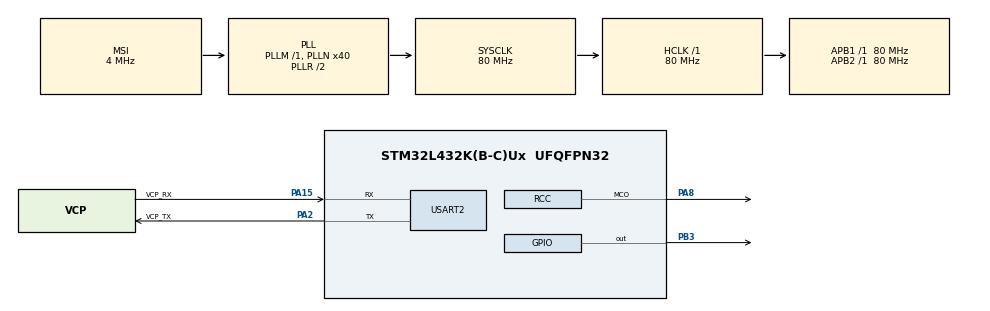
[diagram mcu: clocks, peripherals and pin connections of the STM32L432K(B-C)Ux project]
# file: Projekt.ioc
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Mcu.Family=STM32L4
Mcu.Name=STM32L432K(B-C)Ux
Mcu.Package=UFQFPN32
NUCLEO-L432KC.LD3=true
NVIC.PriorityGroup=NVIC_PRIORITYGROUP_4
PA0.GPIO_Label=MCO [High speed clock in]
PA0.Signal=RCC_CK_IN
PA13\ (JTMS-SWDIO).GPIO_Label=SWDIO
PA13\ (JTMS-SWDIO).Mode=Serial_Wire
PA13\ (JTMS-SWDIO).Signal=SYS_JTMS-SWDIO
PA14\ (JTCK-SWCLK).GPIO_Label=SWCLK
PA14\ (JTCK-SWCLK).Mode=Serial_Wire
PA14\ (JTCK-SWCLK).Signal=SYS_JTCK-SWCLK
PA15\ (JTDI).GPIO_Label=VCP_RX
PA15\ (JTDI).Mode=Asynchronous
PA15\ (JTDI).Signal=USART2_RX
PA2.GPIO_Label=VCP_TX
PA2.Mode=Asynchronous
PA2.Signal=USART2_TX
PA8.Mode=Clock-out
PA8.Signal=RCC_MCO
PB3\ (JTDO-TRACESWO).Signal=GPIO_Output
PC14-OSC32_IN\ (PC14).Signal=RCC_OSC32_IN
PC15-OSC32_OUT\ (PC15).Signal=RCC_OSC32_OUT
ProjectManager.HeapSize=0x200
ProjectManager.StackSize=0x400
ProjectManager.TargetToolchain=STM32CubeIDE
RCC.AHBFreq_Value=80000000
RCC.APB1Freq_Value=80000000
RCC.APB1TimFreq_Value=80000000
RCC.APB2Freq_Value=80000000
RCC.APB2TimFreq_Value=80000000
RCC.CortexFreq_Value=80000000
RCC.HCLKFreq_Value=80000000
RCC.HSE_VALUE=8000000
RCC.HSI16_VALUE=16000000
RCC.HSI48_VALUE=48000000
RCC.HSI_VALUE=16000000
RCC.LSE_VALUE=32768
RCC.MSI_VALUE=4000000
RCC.PLLMUL=RCC_PLLMUL_4
RCC.PLLN=40
RCC.SYSCLKFreq_VALUE=80000000
RCC.SYSCLKSource=RCC_SYSCLKSOURCE_PLLCLK
RCC.VCOOutputFreq_Value=160000000
USART2.VirtualMode-Asynchronous=VM_ASYNC
VP_NUCLEO-L432KC_VS_BSP_COMMON.Mode=COMMON
board=NUCLEO-L432KC

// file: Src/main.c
/* USER CODE BEGIN Header */
/**
  ******************************************************************************
  * @file           : main.c
  * @brief          : Main program body (Advanced Crypto Benchmark)
  ******************************************************************************
  */
/* USER CODE END Header */
#include "main.h"
#include "usart.h"
#include "gpio.h"

/* USER CODE BEGIN Includes */
#include <stdio.h>
#include <stdint.h>
#include <string.h>

// Az algoritmusok header fájljai
#include "aes.h"
#include "speck.h"
#include "lea.h"
#include "ascon128.h"
/* USER CODE END Includes */

/* USER CODE BEGIN PTD */
typedef struct {
    char algo[16];
    char operation[16];
    uint16_t size;
    uint32_t cycles;
} BenchmarkResult;
/* USER CODE END PTD */

/* USER CODE BEGIN PD */
#define ITERATIONS 100
#define NUM_TEST_SIZES 4
#define MAX_RESULTS 100

// DWT regiszterek definíciói a cikluspontos méréshez
#define DWT_CTRL        (*(volatile uint32_t*)0xE0001000)
#define DWT_CYCCNT      (*(volatile uint32_t*)0xE0001004)
#define DEMCR           (*(volatile uint32_t*)0xE000EDFC)
#define DEMCR_TRCENA    0x01000000
#define DWT_CR_CYCCNTENA 0x00000001
/* USER CODE END PD */

/* USER CODE BEGIN PV */
BenchmarkResult results[MAX_RESULTS];
uint32_t result_count = 0;

const uint16_t test_sizes[NUM_TEST_SIZES] = {16, 64, 256, 1024};

uint8_t key[16] = {0x01, 0x23, 0x45, 0x67, 0x89, 0xAB, 0xCD, 0xEF, 0x01, 0x23, 0x45, 0x67, 0x89, 0xAB, 0xCD, 0xEF};
uint8_t iv[16]  = {0xF0, 0xE0, 0xD0, 0xC0, 0xB0, 0xA0, 0x90, 0x80, 0x70, 0x60, 0x50, 0x40, 0x30, 0x20, 0x10, 0x00};

uint8_t plaintext[1040];
volatile uint8_t ciphertext[1040];
volatile uint8_t decrypted[1040];
/* USER CODE END PV */

void SystemClock_Config(void);
/* USER CODE BEGIN PFP */
extern void Speck128128KeySchedule(const uint64_t K[2], uint64_t rk[32]);
extern void Speck128128Encrypt(const uint64_t Pt[2], uint64_t Ct[2], const uint64_t rk[32]);
extern void Speck128128Decrypt(const uint64_t Ct[2], uint64_t Pt[2], const uint64_t rk[32]);
/* USER CODE END PFP */

/* USER CODE BEGIN 0 */
extern UART_HandleTypeDef huart2;

int _write(int file, char *ptr, int len) {
    HAL_UART_Transmit(&huart2, (uint8_t*)ptr, len, HAL_MAX_DELAY);
    return len;
}

void DWT_Init(void) {
    DEMCR |= DEMCR_TRCENA;
    DWT_CYCCNT = 0;
    DWT_CTRL |= DWT_CR_CYCCNTENA;
}

// -------------------------------------------------------------------------
// UNIFORM BUFFER WRAPPERS (Az egységes és igazságos mérésért)
// -------------------------------------------------------------------------

void aes_buffer_encrypt(struct AES_ctx* ctx, uint8_t* buf, uint16_t size) {
    for (uint16_t i = 0; i < size; i += 16) {
        AES_ECB_encrypt(ctx, buf + i);
    }
}

void aes_buffer_decrypt(struct AES_ctx* ctx, uint8_t* buf, uint16_t size) {
    for (uint16_t i = 0; i < size; i += 16) {
        AES_ECB_decrypt(ctx, buf + i);
    }
}

void speck_buffer_encrypt(const uint8_t* in, uint8_t* out, uint16_t size, const uint64_t* rk) {
    for (uint16_t i = 0; i < size; i += 16) {
        Speck128128Encrypt((uint64_t*)(in + i), (uint64_t*)(out + i), rk);
    }
}

void speck_buffer_decrypt(const uint8_t* in, uint8_t* out, uint16_t size, const uint64_t* rk) {
    for (uint16_t i = 0; i < size; i += 16) {
        Speck128128Decrypt((uint64_t*)(in + i), (uint64_t*)(out + i), rk);
    }
}

// -------------------------------------------------------------------------

void Record_Result(const char* algo, const char* op, uint16_t size, uint32_t cycles) {
    if(result_count < MAX_RESULTS) {
        strcpy(results[result_count].algo, algo);
        strcpy(results[result_count].operation, op);
        results[result_count].size = size;
        results[result_count].cycles = cycles;
        result_count++;
    }
}

void Print_Results(void) {
    printf("\r\n======================================================\r\n");
    printf("| %-10s | %-12s | %-8s | %-10s |\r\n", "Algoritmus", "Muvelet", "Meret(B)", "Ciklus");
    printf("======================================================\r\n");
    for(uint32_t i=0; i<result_count; i++) {
        printf("| %-10s | %-12s | %-8u | %-10lu |\r\n",
               results[i].algo, results[i].operation, results[i].size, results[i].cycles);
    }
    printf("======================================================\r\n\r\n");

    printf("--- CSV FORMATUM EXCELHEZ ---\r\n");
    printf("Algoritmus,Muvelet,Meret,Ciklus\r\n");
    for(uint32_t i=0; i<result_count; i++) {
        printf("%s,%s,%u,%lu\r\n", results[i].algo, results[i].operation, results[i].size, results[i].cycles);
    }
    printf("-----------------------------\r\n");
}
/* USER CODE END 0 */

int main(void)
{
  /* MCU Configuration--------------------------------------------------------*/
  HAL_Init();
  SystemClock_Config();
  MX_GPIO_Init();
  MX_USART2_UART_Init();

  /* USER CODE BEGIN 2 */
  DWT_Init();

  for(int i=0; i<1040; i++) plaintext[i] = i % 256;

  printf("\r\n\r\n========================================\r\n");
  printf("STM32 Crypto Benchmark Indul...\r\n");
  printf("Orajel: %lu Hz\r\n", HAL_RCC_GetHCLKFreq());
  printf("========================================\r\n");

  struct AES_ctx aes_ctx;
  LEA_KEY lea_key;
  uint64_t speck_rk[32];

  uint8_t nonce[16] = {0};
  uint8_t ad[1] = {0};
  unsigned long long clen = 0;
  unsigned long long mlen = 0;

  uint32_t start, end;

  // =========================================================================
  // 1. KULCSGENERÁLÁS MÉRÉSE (Key Schedule)
  // =========================================================================

  __disable_irq();
  start = DWT_CYCCNT;
  for(int i=0; i<ITERATIONS; i++) { AES_init_ctx(&aes_ctx, key); }
  end = DWT_CYCCNT;
  __enable_irq();
  Record_Result("AES-128", "KeyGen", 0, (end - start)/ITERATIONS);

  __disable_irq();
  start = DWT_CYCCNT;
  for(int i=0; i<ITERATIONS; i++) { Speck128128KeySchedule((uint64_t*)key, speck_rk); }
  end = DWT_CYCCNT;
  __enable_irq();
  Record_Result("SPECK-128", "KeyGen", 0, (end - start)/ITERATIONS);

  __disable_irq();
  start = DWT_CYCCNT;
  for(int i=0; i<ITERATIONS; i++) { lea_set_key(&lea_key, key, 16); }
  end = DWT_CYCCNT;
  __enable_irq();
  Record_Result("LEA-128", "KeyGen", 0, (end - start)/ITERATIONS);

  Record_Result("ASCON-128", "KeyGen", 0, 0);

  // =========================================================================
  // 2. SEBESSÉGMÉRÉS DINAMIKUS CSOMAGMÉRETEKKEL
  // =========================================================================

  for(int s=0; s<NUM_TEST_SIZES; s++)
  {
      uint16_t size = test_sizes[s];

      // --- AES-128 ECB ---
      memcpy((void*)ciphertext, plaintext, size);

      __disable_irq();
      start = DWT_CYCCNT;
      for(int k=0; k<ITERATIONS; k++) {
          aes_buffer_encrypt(&aes_ctx, (uint8_t*)ciphertext, size);
      }
      end = DWT_CYCCNT;
      __enable_irq();
      Record_Result("AES-128", "Encrypt", size, (end - start)/ITERATIONS);

      __disable_irq();
      start = DWT_CYCCNT;
      for(int k=0; k<ITERATIONS; k++) {
          aes_buffer_decrypt(&aes_ctx, (uint8_t*)ciphertext, size);
      }
      end = DWT_CYCCNT;
      __enable_irq();
      Record_Result("AES-128", "Decrypt", size, (end - start)/ITERATIONS);

      // --- AES-128 CTR (Kiegészítő szimmetrikus mérés) ---
      AES_init_ctx_iv(&aes_ctx, key, iv);
      memcpy((void*)ciphertext, plaintext, size);

      __disable_irq();
      start = DWT_CYCCNT;
      for(int k=0; k<ITERATIONS; k++) {
          AES_CTR_xcrypt_buffer(&aes_ctx, (uint8_t*)ciphertext, size);
      }
      end = DWT_CYCCNT;
      __enable_irq();
      Record_Result("AES-CTR", "Encrypt", size, (end - start)/ITERATIONS);

      AES_init_ctx_iv(&aes_ctx, key, iv);
      __disable_irq();
      start = DWT_CYCCNT;
      for(int k=0; k<ITERATIONS; k++) {
          AES_CTR_xcrypt_buffer(&aes_ctx, (uint8_t*)ciphertext, size);
      }
      end = DWT_CYCCNT;
      __enable_irq();
      Record_Result("AES-CTR", "Decrypt", size, (end - start)/ITERATIONS);

      // --- SPECK-128 ---
      __disable_irq();
      start = DWT_CYCCNT;
      for(int k=0; k<ITERATIONS; k++) {
          speck_buffer_encrypt(plaintext, (uint8_t*)ciphertext, size, speck_rk);
      }
      end = DWT_CYCCNT;
      __enable_irq();
      Record_Result("SPECK-128", "Encrypt", size, (end - start)/ITERATIONS);

      __disable_irq();
      start = DWT_CYCCNT;
      for(int k=0; k<ITERATIONS; k++) {
          speck_buffer_decrypt((uint8_t*)ciphertext, (uint8_t*)decrypted, size, speck_rk);
      }
      end = DWT_CYCCNT;
      __enable_irq();
      Record_Result("SPECK-128", "Decrypt", size, (end - start)/ITERATIONS);

      // --- LEA-128 ---
      __disable_irq();
      start = DWT_CYCCNT;
      for(int k=0; k<ITERATIONS; k++) {
          lea_ecb_encrypt((uint8_t*)ciphertext, plaintext, size, &lea_key);
      }
      end = DWT_CYCCNT;
      __enable_irq();
      Record_Result("LEA-128", "Encrypt", size, (end - start)/ITERATIONS);

      __disable_irq();
      start = DWT_CYCCNT;
      for(int k=0; k<ITERATIONS; k++) {
          lea_ecb_decrypt((uint8_t*)decrypted, (uint8_t*)ciphertext, size, &lea_key);
      }
      end = DWT_CYCCNT;
      __enable_irq();
      Record_Result("LEA-128", "Decrypt", size, (end - start)/ITERATIONS);

      // --- ASCON-128 ---
      __disable_irq();
      start = DWT_CYCCNT;
      for(int k=0; k<ITERATIONS; k++) {
          ascon128_aead_encrypt((uint8_t*)ciphertext, &clen, plaintext, size, ad, 0, NULL, nonce, key);
      }
      end = DWT_CYCCNT;
      __enable_irq();
      Record_Result("ASCON-128", "Encrypt", size, (end - start)/ITERATIONS);

      __disable_irq();
      start = DWT_CYCCNT;
      for(int k=0; k<ITERATIONS; k++) {
          ascon128_aead_decrypt((uint8_t*)decrypted, &mlen, NULL, (uint8_t*)ciphertext, clen, ad, 0, nonce, key);
      }
      end = DWT_CYCCNT;
      __enable_irq();
      Record_Result("ASCON-128", "Decrypt", size, (end - start)/ITERATIONS);
  }

  Print_Results();
  printf("Meres befejezve. Ujrainditashoz nyomd meg a RESET gombot a panelen.\r\n");
  /* USER CODE END 2 */

  /* Infinite loop */
  /* USER CODE BEGIN WHILE */
  while (1)
  {
    HAL_Delay(1000);
    /* USER CODE END WHILE */

  }
}

void SystemClock_Config(void)
{
  RCC_OscInitTypeDef RCC_OscInitStruct = {0};
  RCC_ClkInitTypeDef RCC_ClkInitStruct = {0};

  if (HAL_PWREx_ControlVoltageScaling(PWR_REGULATOR_VOLTAGE_SCALE1) != HAL_OK)
  {
    Error_Handler();
  }

  RCC_OscInitStruct.OscillatorType = RCC_OSCILLATORTYPE_MSI;
  RCC_OscInitStruct.MSIState = RCC_MSI_ON;
  RCC_OscInitStruct.MSICalibrationValue = 0;
  RCC_OscInitStruct.MSIClockRange = RCC_MSIRANGE_6;
  RCC_OscInitStruct.PLL.PLLState = RCC_PLL_ON;
  RCC_OscInitStruct.PLL.PLLSource = RCC_PLLSOURCE_MSI;
  RCC_OscInitStruct.PLL.PLLM = 1;
  RCC_OscInitStruct.PLL.PLLN = 40;
  RCC_OscInitStruct.PLL.PLLP = RCC_PLLP_DIV7;
  RCC_OscInitStruct.PLL.PLLQ = RCC_PLLQ_DIV2;
  RCC_OscInitStruct.PLL.PLLR = RCC_PLLR_DIV2;
  if (HAL_RCC_OscConfig(&RCC_OscInitStruct) != HAL_OK)
  {
    Error_Handler();
  }

  RCC_ClkInitStruct.ClockType = RCC_CLOCKTYPE_HCLK|RCC_CLOCKTYPE_SYSCLK
                              |RCC_CLOCKTYPE_PCLK1|RCC_CLOCKTYPE_PCLK2;
  RCC_ClkInitStruct.SYSCLKSource = RCC_SYSCLKSOURCE_PLLCLK;
  RCC_ClkInitStruct.AHBCLKDivider = RCC_SYSCLK_DIV1;
  RCC_ClkInitStruct.APB1CLKDivider = RCC_HCLK_DIV1;
  RCC_ClkInitStruct.APB2CLKDivider = RCC_HCLK_DIV1;

  if (HAL_RCC_ClockConfig(&RCC_ClkInitStruct, FLASH_LATENCY_4) != HAL_OK)
  {
    Error_Handler();
  }
}

void Error_Handler(void)
{
  __disable_irq();
  while (1)
  {
  }
}
